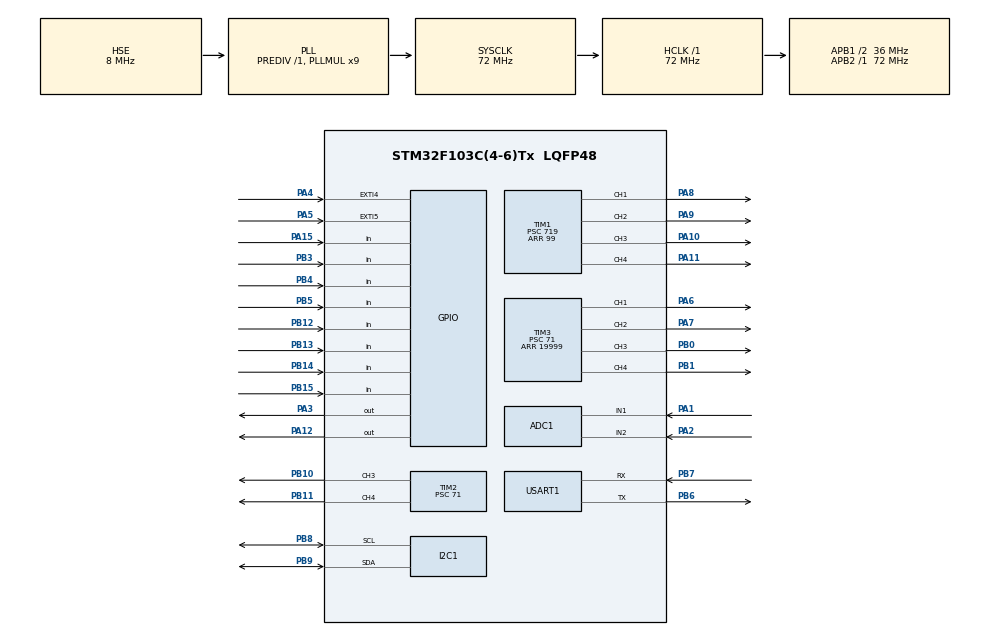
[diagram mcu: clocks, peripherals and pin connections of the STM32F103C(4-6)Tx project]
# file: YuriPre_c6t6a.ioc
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ADC1.Channel-0\#ChannelRegularConversion=ADC_CHANNEL_1
ADC1.NbrOfConversionFlag=1
ADC1.Rank-0\#ChannelRegularConversion=1
ADC1.SamplingTime-0\#ChannelRegularConversion=ADC_SAMPLETIME_1CYCLE_5
ADC1.master=1
Dma.Request0=USART1_RX
Dma.Request1=USART1_TX
Dma.USART1_RX.0.Direction=DMA_PERIPH_TO_MEMORY
Dma.USART1_RX.0.Instance=DMA1_Channel5
Dma.USART1_RX.0.MemDataAlignment=DMA_MDATAALIGN_BYTE
Dma.USART1_RX.0.MemInc=DMA_MINC_ENABLE
Dma.USART1_RX.0.Mode=DMA_NORMAL
Dma.USART1_RX.0.PeriphDataAlignment=DMA_PDATAALIGN_BYTE
Dma.USART1_RX.0.PeriphInc=DMA_PINC_DISABLE
Dma.USART1_RX.0.Priority=DMA_PRIORITY_LOW
Dma.USART1_TX.1.Direction=DMA_MEMORY_TO_PERIPH
Dma.USART1_TX.1.Instance=DMA1_Channel4
Dma.USART1_TX.1.MemDataAlignment=DMA_MDATAALIGN_BYTE
Dma.USART1_TX.1.MemInc=DMA_MINC_ENABLE
Dma.USART1_TX.1.Mode=DMA_NORMAL
Dma.USART1_TX.1.PeriphDataAlignment=DMA_PDATAALIGN_BYTE
Dma.USART1_TX.1.PeriphInc=DMA_PINC_DISABLE
Dma.USART1_TX.1.Priority=DMA_PRIORITY_LOW
Mcu.Family=STM32F1
Mcu.Name=STM32F103C(4-6)Tx
Mcu.Package=LQFP48
NVIC.DMA1_Channel4_IRQn=true\:0\:0\:false\:false\:true\:false\:true\:true
NVIC.DMA1_Channel5_IRQn=true\:0\:0\:false\:false\:true\:false\:true\:true
NVIC.EXTI4_IRQn=true\:0\:0\:false\:false\:true\:true\:true\:true
NVIC.EXTI9_5_IRQn=true\:0\:0\:false\:false\:true\:true\:true\:true
NVIC.PriorityGroup=NVIC_PRIORITYGROUP_4
NVIC.TIM1_UP_IRQn=true\:0\:0\:false\:false\:true\:true\:true\:true
NVIC.USART1_IRQn=true\:0\:0\:false\:false\:true\:true\:true\:true
PA1.Signal=ADCx_IN1
PA10.Signal=S_TIM1_CH3
PA11.Signal=S_TIM1_CH4
PA12.Signal=GPIO_Output
PA13.Mode=Serial_Wire
PA13.Signal=SYS_JTMS-SWDIO
PA14.Mode=Serial_Wire
PA14.Signal=SYS_JTCK-SWCLK
PA15.GPIO_PuPd=GPIO_PULLUP
PA15.Signal=GPIO_Input
PA2.Signal=ADCx_IN2
PA3.GPIO_Speed=GPIO_SPEED_FREQ_MEDIUM
PA3.Signal=GPIO_Output
PA4.GPIO_ModeDefaultEXTI=GPIO_MODE_IT_FALLING
PA4.GPIO_PuPd=GPIO_PULLUP
PA4.Signal=GPXTI4
PA5.GPIO_ModeDefaultEXTI=GPIO_MODE_IT_FALLING
PA5.GPIO_PuPd=GPIO_PULLUP
PA5.Signal=GPXTI5
PA6.Signal=S_TIM3_CH1
PA7.Signal=S_TIM3_CH2
PA8.Signal=S_TIM1_CH1
PA9.Signal=S_TIM1_CH2
PB0.Signal=S_TIM3_CH3
PB1.Signal=S_TIM3_CH4
PB10.Signal=S_TIM2_CH3
PB11.Signal=S_TIM2_CH4
PB12.GPIO_PuPd=GPIO_PULLUP
PB12.Signal=GPIO_Input
PB13.GPIO_PuPd=GPIO_PULLUP
PB13.Signal=GPIO_Input
PB14.GPIO_PuPd=GPIO_PULLUP
PB14.Signal=GPIO_Input
PB15.GPIO_PuPd=GPIO_PULLUP
PB15.Signal=GPIO_Input
PB3.GPIO_PuPd=GPIO_PULLUP
PB3.Signal=GPIO_Input
PB4.GPIO_PuPd=GPIO_PULLUP
PB4.Signal=GPIO_Input
PB5.GPIO_PuPd=GPIO_PULLUP
PB5.Signal=GPIO_Input
PB6.Mode=Asynchronous
PB6.Signal=USART1_TX
PB7.Mode=Asynchronous
PB7.Signal=USART1_RX
PB8.Mode=I2C
PB8.Signal=I2C1_SCL
PB9.Mode=I2C
PB9.Signal=I2C1_SDA
PD0-OSC_IN.Mode=HSE-External-Oscillator
PD0-OSC_IN.Signal=RCC_OSC_IN
PD1-OSC_OUT.Mode=HSE-External-Oscillator
PD1-OSC_OUT.Signal=RCC_OSC_OUT
ProjectManager.HeapSize=0x200
ProjectManager.StackSize=0x400
ProjectManager.TargetToolchain=MDK-ARM V5.32
RCC.ADCPresc=RCC_ADCPCLK2_DIV6
RCC.AHBFreq_Value=72000000
RCC.APB1CLKDivider=RCC_HCLK_DIV2
RCC.APB1Freq_Value=36000000
RCC.APB1TimFreq_Value=72000000
RCC.APB2Freq_Value=72000000
RCC.APB2TimFreq_Value=72000000
RCC.HCLKFreq_Value=72000000
RCC.PLLMUL=RCC_PLL_MUL9
RCC.PLLSourceVirtual=RCC_PLLSOURCE_HSE
RCC.SYSCLKFreq_VALUE=72000000
RCC.SYSCLKSource=RCC_SYSCLKSOURCE_PLLCLK
RCC.USBFreq_Value=72000000
SH.ADCx_IN1.0=ADC1_IN1,IN1
SH.ADCx_IN2.0=ADC1_IN2,IN2
SH.S_TIM1_CH1.0=TIM1_CH1,PWM Generation1 CH1
SH.S_TIM1_CH2.0=TIM1_CH2,PWM Generation2 CH2
SH.S_TIM1_CH3.0=TIM1_CH3,PWM Generation3 CH3
SH.S_TIM1_CH4.0=TIM1_CH4,PWM Generation4 CH4
SH.S_TIM2_CH3.0=TIM2_CH3,PWM Generation3 CH3
SH.S_TIM2_CH4.0=TIM2_CH4,PWM Generation4 CH4
SH.S_TIM3_CH1.0=TIM3_CH1,PWM Generation1 CH1
SH.S_TIM3_CH2.0=TIM3_CH2,PWM Generation2 CH2
SH.S_TIM3_CH3.0=TIM3_CH3,PWM Generation3 CH3
SH.S_TIM3_CH4.0=TIM3_CH4,PWM Generation4 CH4
TIM1.AutoReloadPreload=TIM_AUTORELOAD_PRELOAD_ENABLE
TIM1.Channel-PWM\ Generation1\ CH1=TIM_CHANNEL_1
TIM1.Channel-PWM\ Generation2\ CH2=TIM_CHANNEL_2
TIM1.Channel-PWM\ Generation3\ CH3=TIM_CHANNEL_3
TIM1.Channel-PWM\ Generation4\ CH4=TIM_CHANNEL_4
TIM1.Period=99
TIM1.Prescaler=719
TIM2.AutoReloadPreload=TIM_AUTORELOAD_PRELOAD_ENABLE
TIM2.Channel-PWM\ Generation3\ CH3=TIM_CHANNEL_3
TIM2.Channel-PWM\ Generation4\ CH4=TIM_CHANNEL_4
TIM2.Period=19999
TIM2.Prescaler=71
TIM3.AutoReloadPreload=TIM_AUTORELOAD_PRELOAD_ENABLE
TIM3.Channel-PWM\ Generation1\ CH1=TIM_CHANNEL_1
TIM3.Channel-PWM\ Generation2\ CH2=TIM_CHANNEL_2
TIM3.Channel-PWM\ Generation3\ CH3=TIM_CHANNEL_3
TIM3.Channel-PWM\ Generation4\ CH4=TIM_CHANNEL_4
TIM3.Period=19999
TIM3.Prescaler=71
USART1.VirtualMode=VM_ASYNC
VP_TIM1_VS_ClockSourceINT.Mode=Internal
board=custom

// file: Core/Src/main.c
/* USER CODE BEGIN Header */
/**
 ******************************************************************************
 * @file           : main.c
 * @brief          : Main program body
 ******************************************************************************
 * @attention
 *
 * Copyright (c) 2022 STMicroelectronics.
 * All rights reserved.
 *
 * This software is licensed under terms that can be found in the LICENSE file
 * in the root directory of this software component.
 * If no LICENSE file comes with this software, it is provided AS-IS.
 *
 ******************************************************************************
 */
/* USER CODE END Header */
#include "main.h"
#include "adc.h"
#include "dma.h"
#include "i2c.h"
#include "tim.h"
#include "usart.h"
#include "gpio.h"

/* USER CODE BEGIN Includes */
#include "yuri_sensor.h"
/* USER CODE END Includes */

/* USER CODE BEGIN PV */
uint8_t track[5];
float y = 1;
// uint8_t track_last = 0x00;

volatile uint8_t rx_len;
volatile uint8_t recv_end_flag; // 帧数据接收完成标
uint8_t rx_buffer[16];          // 接收数据缓存数组

uint8_t track_flag;
uint8_t is_track = 0;
uint16_t servo_data_init[6] = {1200, 500, 850, 1250, 0}; // servo init postion
uint8_t servo_data[6];

uint8_t x_offest;
uint8_t y_offest;
/* USER CODE END PV */

void SystemClock_Config(void);

/* USER CODE BEGIN 0 */
void get_usart_data()
{
  if (recv_end_flag == 1) // 接收完成标志
  {
    // HAL_UART_Transmit_DMA(&huart1, rx_buffer, rx_len);
    rx_len = 0;        // 清除计数
    recv_end_flag = 0; // 清除接收结束标志
    x_offest = rx_buffer[0];
    y_offest = rx_buffer[1];
    for (uint8_t i = 0; i < rx_len; i++)
    {
      rx_buffer[i] = 0;
    }
  }
  HAL_UART_Receive_DMA(&huart1, rx_buffer, BUFFER_SIZE); // 重新打开DMA接收
}
/* USER CODE END 0 */

int main(void)
{

  /* MCU Configuration--------------------------------------------------------*/

  /* Reset of all peripherals, Initializes the Flash interface and the Systick. */
  HAL_Init();

  /* Configure the system clock */
  SystemClock_Config();

  /* Initialize all configured peripherals */
  MX_GPIO_Init();
  MX_DMA_Init();
  MX_I2C1_Init();
  MX_TIM1_Init();
  MX_TIM2_Init();
  MX_ADC1_Init();
  MX_TIM3_Init();
  MX_USART1_UART_Init();
  /* USER CODE BEGIN 2 */
  HAL_TIM_Base_Start_IT(&htim1);
  HAL_TIM_PWM_Start(&htim1, TIM_CHANNEL_1);
  HAL_TIM_PWM_Start(&htim1, TIM_CHANNEL_2);
  HAL_TIM_PWM_Start(&htim1, TIM_CHANNEL_3);
  HAL_TIM_PWM_Start(&htim1, TIM_CHANNEL_4);

  HAL_TIM_Base_Start_IT(&htim2);
  HAL_TIM_PWM_Start(&htim2, TIM_CHANNEL_3);
  HAL_TIM_PWM_Start(&htim2, TIM_CHANNEL_4);

  HAL_TIM_Base_Start_IT(&htim3);
  HAL_TIM_PWM_Start(&htim3, TIM_CHANNEL_1);
  HAL_TIM_PWM_Start(&htim3, TIM_CHANNEL_2);
  HAL_TIM_PWM_Start(&htim3, TIM_CHANNEL_3);
  HAL_TIM_PWM_Start(&htim3, TIM_CHANNEL_4);
  /* USER CODE END 2 */

  /* Infinite loop */
  /* USER CODE BEGIN WHILE */
  HAL_Delay(500);

  // 舵机位置初始化
  servo_set_angle(1, 30);
  servo_set_angle(2, -70);

  // servo_set_angle(2, -90);
  // Kinematic_Analysis(1.5, 0.2, 0, 60);

  for (int i = 0; i < 7; i++)
  {
    HAL_Delay(1000);
  }
  while (1)
  {
    // is_track = auto_track();

    // if (is_track == 1)
    //{
    //  HAL_UART_Transmit_DMA(&huart1, &is_track, 1);
    get_usart_data();
    if (x_offest == 0x31)
    {
      auto_track();
      // motor_run(FIND_APPLE_SPEED);
    }
    else if (x_offest == 0x32)
    {
      auto_track();
      // motor_run(FIND_APPLE_SPEED);
    }
    else if (x_offest == 0x33)
    {
      motor_back(FIND_APPLE_SPEED);
    }
    else if (x_offest == 0x34)
    {
      motor_back(FIND_APPLE_SPEED + FIND_APPLE_SPEED_OFFSET);
    }
    else if (x_offest == 0x35)
    {
      motor_stop();
      break;
    }
    else
    {
      auto_track();
    }
  }
  HAL_Delay(500);
	motor_back(FIND_APPLE_SPEED);
  HAL_Delay(500);

  while (x_offest != 0x30)
  {
    get_usart_data();
  }

  motor_stop();
  HAL_Delay(1000);

  for (float i = 0; i <= 30; i += 0.06)
  {
    servo_set_angle(1, 30 + i);
    servo_set_angle(2, -70 + i / 3);
    HAL_Delay(5);
  }
  while (1)
  {
  }
}

void SystemClock_Config(void)
{
  RCC_OscInitTypeDef RCC_OscInitStruct = {0};
  RCC_ClkInitTypeDef RCC_ClkInitStruct = {0};
  RCC_PeriphCLKInitTypeDef PeriphClkInit = {0};

  /** Initializes the RCC Oscillators according to the specified parameters
   * in the RCC_OscInitTypeDef structure.
   */
  RCC_OscInitStruct.OscillatorType = RCC_OSCILLATORTYPE_HSE;
  RCC_OscInitStruct.HSEState = RCC_HSE_ON;
  RCC_OscInitStruct.HSEPredivValue = RCC_HSE_PREDIV_DIV1;
  RCC_OscInitStruct.HSIState = RCC_HSI_ON;
  RCC_OscInitStruct.PLL.PLLState = RCC_PLL_ON;
  RCC_OscInitStruct.PLL.PLLSource = RCC_PLLSOURCE_HSE;
  RCC_OscInitStruct.PLL.PLLMUL = RCC_PLL_MUL9;
  if (HAL_RCC_OscConfig(&RCC_OscInitStruct) != HAL_OK)
  {
    Error_Handler();
  }

  /** Initializes the CPU, AHB and APB buses clocks
   */
  RCC_ClkInitStruct.ClockType = RCC_CLOCKTYPE_HCLK | RCC_CLOCKTYPE_SYSCLK | RCC_CLOCKTYPE_PCLK1 | RCC_CLOCKTYPE_PCLK2;
  RCC_ClkInitStruct.SYSCLKSource = RCC_SYSCLKSOURCE_PLLCLK;
  RCC_ClkInitStruct.AHBCLKDivider = RCC_SYSCLK_DIV1;
  RCC_ClkInitStruct.APB1CLKDivider = RCC_HCLK_DIV2;
  RCC_ClkInitStruct.APB2CLKDivider = RCC_HCLK_DIV1;

  if (HAL_RCC_ClockConfig(&RCC_ClkInitStruct, FLASH_LATENCY_2) != HAL_OK)
  {
    Error_Handler();
  }
  PeriphClkInit.PeriphClockSelection = RCC_PERIPHCLK_ADC;
  PeriphClkInit.AdcClockSelection = RCC_ADCPCLK2_DIV6;
  if (HAL_RCCEx_PeriphCLKConfig(&PeriphClkInit) != HAL_OK)
  {
    Error_Handler();
  }
}

void Error_Handler(void)
{
  __disable_irq();
  while (1)
  {
  }
}
